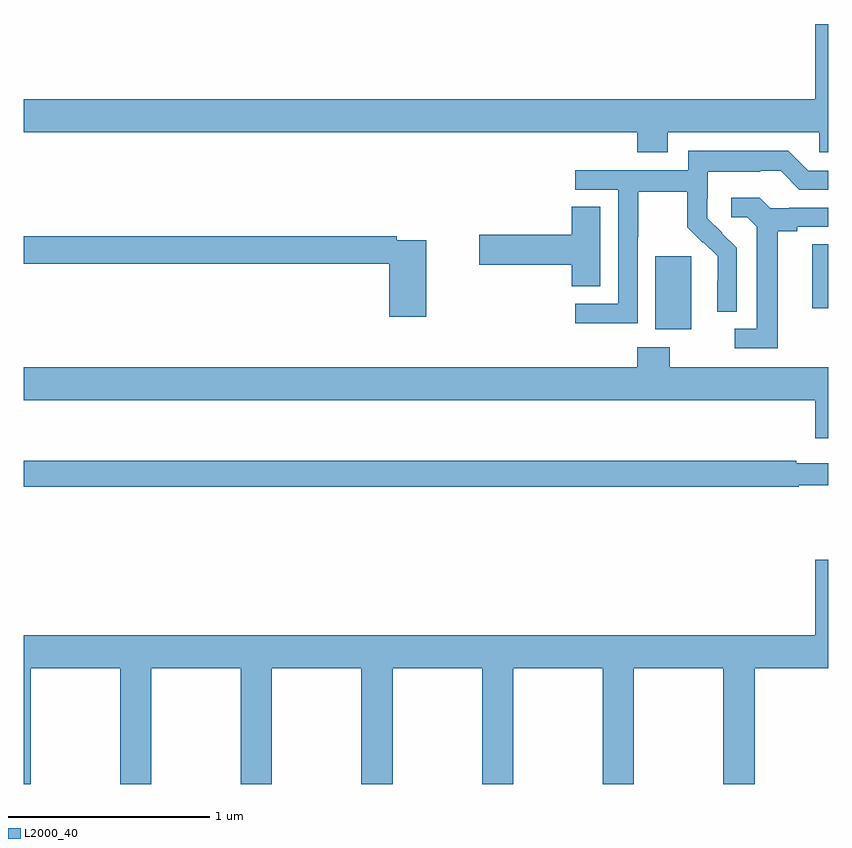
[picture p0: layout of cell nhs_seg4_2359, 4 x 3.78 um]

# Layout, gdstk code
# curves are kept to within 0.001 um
import gdstk
lib = gdstk.Library(unit=1e-6, precision=1e-09)
def R(c, l, rs):  # rectangles x0, y0, x1, y1
    for r in rs: c.add(gdstk.rectangle(r[:2], r[2:], *l))
def P(c, l, *ps):  # polygons
    for p in ps: c.add(gdstk.Polygon(p, *l))
L2000_40 = (2000, 40)

nhs_seg4_2359 = lib.new_cell('nhs_seg4_2359')
R(nhs_seg4_2359, L2000_40, [(236.141,809.162,236.32,809.523), (236.921,809.265,237,809.585)])
P(nhs_seg4_2359, L2000_40, [(236.203,810.14),(236.955,810.14),(236.955,810.042),(237,810.042),(237,810.679),(236.936,810.679),(236.936,810.304),(233,810.304),(233,810.14),(236.051,810.14),(236.051,810.041),(236.203,810.041)],
  [(236.052,809.62),(236.055,809.62),(236.055,809.844),(236.299,809.844),(236.299,809.669),(236.376,809.592),(236.379,809.595),(236.45,809.525),(236.45,809.402),(236.448,809.402),(236.448,809.248),(236.544,809.248),(236.544,809.566),(236.398,809.714),(236.398,809.811),(236.4,809.811),(236.4,809.945),(236.663,809.945),(236.663,809.949),(236.763,809.949),(236.856,809.856),(237,809.856),(237,809.949),(236.901,809.949),(236.801,810.049),(236.304,810.049),(236.304,809.952),(235.743,809.952),(235.743,809.856),(235.956,809.856),(235.956,809.289),(235.743,809.289),(235.743,809.191),(236.052,809.191)],
  [(236.749,809.648),(236.845,809.648),(236.845,809.67),(237,809.67),(237,809.766),(236.806,809.766),(236.806,809.763),(236.712,809.763),(236.66,809.815),(236.517,809.815),(236.517,809.718),(236.598,809.718),(236.645,809.671),(236.645,809.163),(236.535,809.163),(236.535,809.067),(236.749,809.067)],
  [(235.867,809.771),(235.724,809.771),(235.724,809.63),(235.266,809.63),(235.266,809.483),(235.724,809.483),(235.724,809.374),(235.867,809.374)],
  [(235.001,809.604),(234.854,809.604),(234.854,809.624),(233,809.624),(233,809.488),(234.818,809.488),(234.818,809.223),(235.001,809.223)],
  [(237,808.972),(236.211,808.972),(236.211,809.071),(236.051,809.071),(236.051,808.972),(233,808.972),(233,808.808),(236.936,808.808),(236.936,808.62),(237,808.62)],
  [(236.854,808.386),(237,808.386),(237,808.494),(236.84,808.494),(236.84,808.507),(233,808.507),(233,808.378),(236.854,808.378)],
  [(233,806.9),(233.034,806.9),(233.034,807.476),(233.479,807.476),(233.479,806.9),(233.634,806.9),(233.634,807.476),(234.079,807.476),(234.079,806.9),(234.234,806.9),(234.234,807.476),(234.679,807.476),(234.679,806.9),(234.834,806.9),(234.834,807.476),(235.279,807.476),(235.279,806.9),(235.434,806.9),(235.434,807.476),(235.879,807.476),(235.879,806.9),(236.034,806.9),(236.034,807.476),(236.479,807.476),(236.479,806.9),(236.634,806.9),(236.634,807.476),(237,807.476),(237,808.015),(236.936,808.015),(236.936,807.64),(233,807.64)])

lib.write_gds('nhs_seg4_2359.gds')
